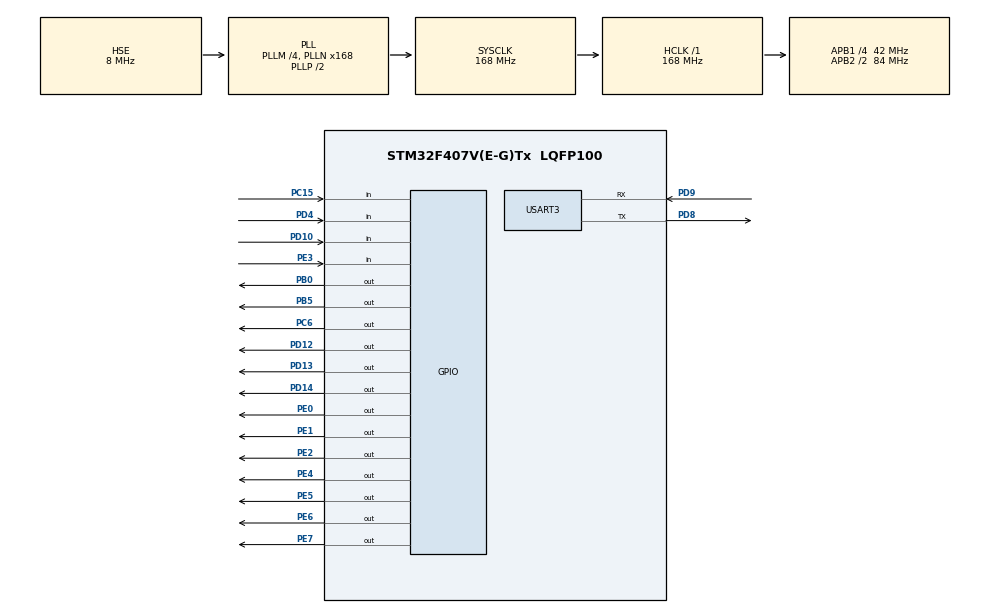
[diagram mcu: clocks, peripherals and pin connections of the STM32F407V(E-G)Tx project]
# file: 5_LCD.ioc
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Mcu.Family=STM32F4
Mcu.Name=STM32F407V(E-G)Tx
Mcu.Package=LQFP100
NVIC.PriorityGroup=NVIC_PRIORITYGROUP_4
NVIC.USART3_IRQn=true\:0\:0\:false\:true\:true\:1\:true\:true\:true
PB0.Signal=GPIO_Output
PB5.Signal=GPIO_Output
PC15-OSC32_OUT.Signal=GPIO_Input
PC6.Signal=GPIO_Output
PD10.Signal=GPIO_Input
PD12.Signal=GPIO_Output
PD13.Signal=GPIO_Output
PD14.Signal=GPIO_Output
PD4.Signal=GPIO_Input
PD8.Mode=Asynchronous
PD8.Signal=USART3_TX
PD9.Mode=Asynchronous
PD9.Signal=USART3_RX
PE0.Signal=GPIO_Output
PE1.Signal=GPIO_Output
PE2.Signal=GPIO_Output
PE3.Signal=GPIO_Input
PE4.Signal=GPIO_Output
PE5.Signal=GPIO_Output
PE6.Signal=GPIO_Output
PE7.Signal=GPIO_Output
PH0-OSC_IN.Mode=HSE-External-Oscillator
PH0-OSC_IN.Signal=RCC_OSC_IN
PH1-OSC_OUT.Mode=HSE-External-Oscillator
PH1-OSC_OUT.Signal=RCC_OSC_OUT
ProjectManager.HeapSize=0x200
ProjectManager.StackSize=0x400
ProjectManager.TargetToolchain=STM32CubeIDE
RCC.48MHZClocksFreq_Value=84000000
RCC.AHBFreq_Value=168000000
RCC.APB1CLKDivider=RCC_HCLK_DIV4
RCC.APB1Freq_Value=42000000
RCC.APB1TimFreq_Value=84000000
RCC.APB2CLKDivider=RCC_HCLK_DIV2
RCC.APB2Freq_Value=84000000
RCC.APB2TimFreq_Value=168000000
RCC.CortexFreq_Value=168000000
RCC.HCLKFreq_Value=168000000
RCC.HSE_VALUE=8000000
RCC.HSI_VALUE=16000000
RCC.LSE_VALUE=32768
RCC.PLLM=4
RCC.PLLN=168
RCC.PLLSourceVirtual=RCC_PLLSOURCE_HSE
RCC.SYSCLKFreq_VALUE=168000000
RCC.SYSCLKSource=RCC_SYSCLKSOURCE_PLLCLK
RCC.VCOOutputFreq_Value=336000000
USART3.VirtualMode=VM_ASYNC
board=custom

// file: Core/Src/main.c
/* USER CODE BEGIN Header */
/**
 ******************************************************************************
 * @file           : main.c
 * @brief          : Main program body
 ******************************************************************************
 * @attention
 *
 * Copyright (c) 2024 STMicroelectronics.
 * All rights reserved.
 *
 * This software is licensed under terms that can be found in the LICENSE file
 * in the root directory of this software component.
 * If no LICENSE file comes with this software, it is provided AS-IS.
 *
 ******************************************************************************
 */
/* USER CODE END Header */
#include "main.h"

/* USER CODE BEGIN Includes */
#include <stdio.h>
#include <string.h>
#include "CLCD.h"
/* USER CODE END Includes */

UART_HandleTypeDef huart3;

/* USER CODE BEGIN PV */
uint8_t rx3_data;
uint8_t cnt = 0;
uint8_t rx3_buf[100] = "uart test";
/* USER CODE END PV */

void SystemClock_Config(void);
static void MX_GPIO_Init(void);
static void MX_USART3_UART_Init(void);
static void MX_NVIC_Init(void);
/* USER CODE BEGIN PFP */
int _write(int file, char *p, int len) {
	HAL_UART_Transmit(&huart3, p, len, 10);
	return len;
}

void HAL_UART_RxCpltCallback(UART_HandleTypeDef *huart) {
	if (huart->Instance == USART3) {
		if (cnt < 100-1) {
			cnt++;
		} else {
			cnt = 0;
		}

		if (rx3_buf[cnt-1] == '\n') {
			rx3_buf[cnt-1] = '\0';
			cnt = 0;
		}

		HAL_UART_Receive_IT(&huart3, &rx3_buf[cnt], 1);
	}
}
/* USER CODE END PFP */

int main(void)
{

  /* MCU Configuration--------------------------------------------------------*/

  /* Reset of all peripherals, Initializes the Flash interface and the Systick. */
  HAL_Init();

  /* Configure the system clock */
  SystemClock_Config();

  /* Initialize all configured peripherals */
  MX_GPIO_Init();
  MX_USART3_UART_Init();

  /* Initialize interrupts */
  MX_NVIC_Init();
  /* USER CODE BEGIN 2 */
	HAL_GPIO_WritePin(GPIOD, GPIO_PIN_12, GPIO_PIN_SET);
	HAL_GPIO_WritePin(GPIOD, GPIO_PIN_13, GPIO_PIN_SET);
	HAL_GPIO_WritePin(GPIOD, GPIO_PIN_14, GPIO_PIN_SET);
	HAL_GPIO_WritePin(GPIOC, GPIO_PIN_6, GPIO_PIN_SET);
	HAL_GPIO_WritePin(GPIOB, GPIO_PIN_0, GPIO_PIN_SET);
	HAL_GPIO_WritePin(GPIOB, GPIO_PIN_5, GPIO_PIN_SET);

//	HAL_UART_Receive_IT(&huart3, &rx3_buf[cnt], 1);

	CLCD_GPIO_Init();
	CLCD_Init();

	CLCD_Puts(0, 0, "Welcome to");
	CLCD_Puts(0, 1, "Kkang Home");

	CLCD_Clear();
  /* USER CODE END 2 */

  /* Infinite loop */
  /* USER CODE BEGIN WHILE */
	uint8_t a = 0;
	uint8_t str[20];

	while (1) {
		sprintf(str, "%d", a++);
		CLCD_Puts(0, 0, str);
		HAL_Delay(1000);
    /* USER CODE END WHILE */

	}
}

void SystemClock_Config(void)
{
  RCC_OscInitTypeDef RCC_OscInitStruct = {0};
  RCC_ClkInitTypeDef RCC_ClkInitStruct = {0};

  /** Configure the main internal regulator output voltage
  */
  __HAL_RCC_PWR_CLK_ENABLE();
  __HAL_PWR_VOLTAGESCALING_CONFIG(PWR_REGULATOR_VOLTAGE_SCALE1);

  /** Initializes the RCC Oscillators according to the specified parameters
  * in the RCC_OscInitTypeDef structure.
  */
  RCC_OscInitStruct.OscillatorType = RCC_OSCILLATORTYPE_HSE;
  RCC_OscInitStruct.HSEState = RCC_HSE_ON;
  RCC_OscInitStruct.PLL.PLLState = RCC_PLL_ON;
  RCC_OscInitStruct.PLL.PLLSource = RCC_PLLSOURCE_HSE;
  RCC_OscInitStruct.PLL.PLLM = 4;
  RCC_OscInitStruct.PLL.PLLN = 168;
  RCC_OscInitStruct.PLL.PLLP = RCC_PLLP_DIV2;
  RCC_OscInitStruct.PLL.PLLQ = 4;
  if (HAL_RCC_OscConfig(&RCC_OscInitStruct) != HAL_OK)
  {
    Error_Handler();
  }

  /** Initializes the CPU, AHB and APB buses clocks
  */
  RCC_ClkInitStruct.ClockType = RCC_CLOCKTYPE_HCLK|RCC_CLOCKTYPE_SYSCLK
                              |RCC_CLOCKTYPE_PCLK1|RCC_CLOCKTYPE_PCLK2;
  RCC_ClkInitStruct.SYSCLKSource = RCC_SYSCLKSOURCE_PLLCLK;
  RCC_ClkInitStruct.AHBCLKDivider = RCC_SYSCLK_DIV1;
  RCC_ClkInitStruct.APB1CLKDivider = RCC_HCLK_DIV4;
  RCC_ClkInitStruct.APB2CLKDivider = RCC_HCLK_DIV2;

  if (HAL_RCC_ClockConfig(&RCC_ClkInitStruct, FLASH_LATENCY_5) != HAL_OK)
  {
    Error_Handler();
  }
}

/**
  * @brief NVIC Configuration.
  * @retval None
  */
static void MX_NVIC_Init(void)
{
  /* USART3_IRQn interrupt configuration */
  HAL_NVIC_SetPriority(USART3_IRQn, 0, 0);
  HAL_NVIC_EnableIRQ(USART3_IRQn);
}

static void MX_USART3_UART_Init(void)
{

  huart3.Instance = USART3;
  huart3.Init.BaudRate = 115200;
  huart3.Init.WordLength = UART_WORDLENGTH_8B;
  huart3.Init.StopBits = UART_STOPBITS_1;
  huart3.Init.Parity = UART_PARITY_NONE;
  huart3.Init.Mode = UART_MODE_TX_RX;
  huart3.Init.HwFlowCtl = UART_HWCONTROL_NONE;
  huart3.Init.OverSampling = UART_OVERSAMPLING_16;
  if (HAL_UART_Init(&huart3) != HAL_OK)
  {
    Error_Handler();
  }

}

static void MX_GPIO_Init(void)
{
  GPIO_InitTypeDef GPIO_InitStruct = {0};

  /* GPIO Ports Clock Enable */
  __HAL_RCC_GPIOE_CLK_ENABLE();
  __HAL_RCC_GPIOC_CLK_ENABLE();
  __HAL_RCC_GPIOH_CLK_ENABLE();
  __HAL_RCC_GPIOB_CLK_ENABLE();
  __HAL_RCC_GPIOD_CLK_ENABLE();

  /*Configure GPIO pin Output Level */
  HAL_GPIO_WritePin(GPIOE, GPIO_PIN_2|GPIO_PIN_4|GPIO_PIN_5|GPIO_PIN_6
                          |GPIO_PIN_7|GPIO_PIN_0|GPIO_PIN_1, GPIO_PIN_RESET);

  /*Configure GPIO pin Output Level */
  HAL_GPIO_WritePin(GPIOB, GPIO_PIN_0|GPIO_PIN_5, GPIO_PIN_RESET);

  /*Configure GPIO pin Output Level */
  HAL_GPIO_WritePin(GPIOD, GPIO_PIN_12|GPIO_PIN_13|GPIO_PIN_14, GPIO_PIN_RESET);

  /*Configure GPIO pin Output Level */
  HAL_GPIO_WritePin(GPIOC, GPIO_PIN_6, GPIO_PIN_RESET);

  /*Configure GPIO pins : PE2 PE4 PE5 PE6
                           PE7 PE0 PE1 */
  GPIO_InitStruct.Pin = GPIO_PIN_2|GPIO_PIN_4|GPIO_PIN_5|GPIO_PIN_6
                          |GPIO_PIN_7|GPIO_PIN_0|GPIO_PIN_1;
  GPIO_InitStruct.Mode = GPIO_MODE_OUTPUT_PP;
  GPIO_InitStruct.Pull = GPIO_NOPULL;
  GPIO_InitStruct.Speed = GPIO_SPEED_FREQ_LOW;
  HAL_GPIO_Init(GPIOE, &GPIO_InitStruct);

  /*Configure GPIO pin : PE3 */
  GPIO_InitStruct.Pin = GPIO_PIN_3;
  GPIO_InitStruct.Mode = GPIO_MODE_INPUT;
  GPIO_InitStruct.Pull = GPIO_NOPULL;
  HAL_GPIO_Init(GPIOE, &GPIO_InitStruct);

  /*Configure GPIO pin : PC15 */
  GPIO_InitStruct.Pin = GPIO_PIN_15;
  GPIO_InitStruct.Mode = GPIO_MODE_INPUT;
  GPIO_InitStruct.Pull = GPIO_NOPULL;
  HAL_GPIO_Init(GPIOC, &GPIO_InitStruct);

  /*Configure GPIO pins : PB0 PB5 */
  GPIO_InitStruct.Pin = GPIO_PIN_0|GPIO_PIN_5;
  GPIO_InitStruct.Mode = GPIO_MODE_OUTPUT_PP;
  GPIO_InitStruct.Pull = GPIO_NOPULL;
  GPIO_InitStruct.Speed = GPIO_SPEED_FREQ_LOW;
  HAL_GPIO_Init(GPIOB, &GPIO_InitStruct);

  /*Configure GPIO pins : PD10 PD4 */
  GPIO_InitStruct.Pin = GPIO_PIN_10|GPIO_PIN_4;
  GPIO_InitStruct.Mode = GPIO_MODE_INPUT;
  GPIO_InitStruct.Pull = GPIO_NOPULL;
  HAL_GPIO_Init(GPIOD, &GPIO_InitStruct);

  /*Configure GPIO pins : PD12 PD13 PD14 */
  GPIO_InitStruct.Pin = GPIO_PIN_12|GPIO_PIN_13|GPIO_PIN_14;
  GPIO_InitStruct.Mode = GPIO_MODE_OUTPUT_PP;
  GPIO_InitStruct.Pull = GPIO_NOPULL;
  GPIO_InitStruct.Speed = GPIO_SPEED_FREQ_LOW;
  HAL_GPIO_Init(GPIOD, &GPIO_InitStruct);

  /*Configure GPIO pin : PC6 */
  GPIO_InitStruct.Pin = GPIO_PIN_6;
  GPIO_InitStruct.Mode = GPIO_MODE_OUTPUT_PP;
  GPIO_InitStruct.Pull = GPIO_NOPULL;
  GPIO_InitStruct.Speed = GPIO_SPEED_FREQ_LOW;
  HAL_GPIO_Init(GPIOC, &GPIO_InitStruct);

}

void Error_Handler(void)
{
	__disable_irq();
	while (1) {
	}
}
